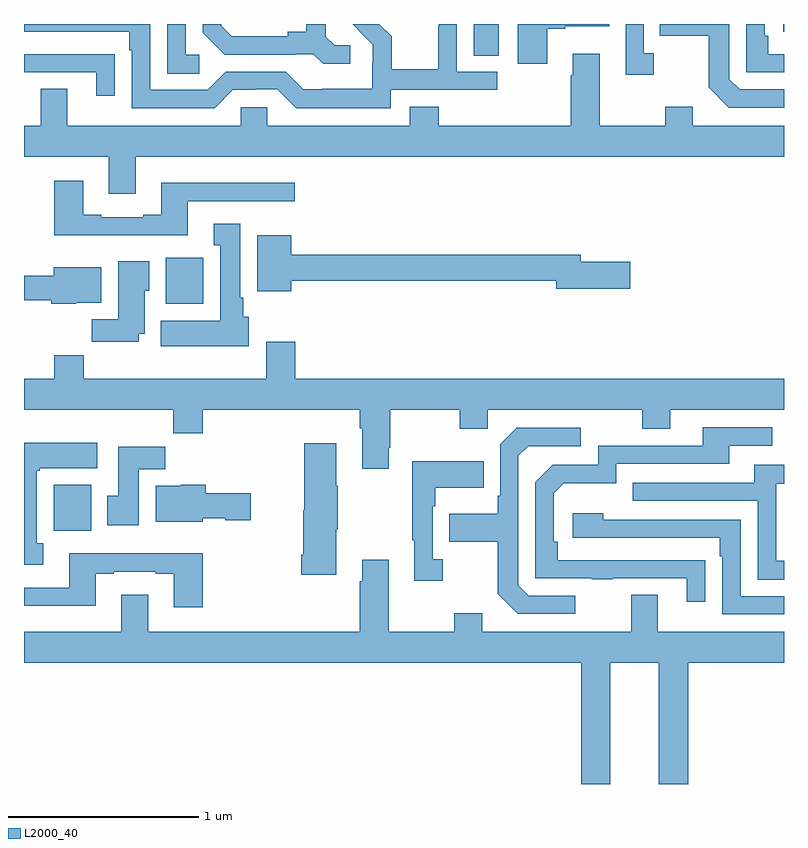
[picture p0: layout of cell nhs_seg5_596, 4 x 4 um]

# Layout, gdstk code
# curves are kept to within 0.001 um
import gdstk
lib = gdstk.Library(unit=1e-6, precision=1e-09)
def R(c, l, rs):  # rectangles x0, y0, x1, y1
    for r in rs: c.add(gdstk.rectangle(r[:2], r[2:], *l))
def P(c, l, *ps):  # polygons
    for p in ps: c.add(gdstk.Polygon(p, *l))
L2000_40 = (2000, 40)

nhs_seg5_596 = lib.new_cell('nhs_seg5_596')
R(nhs_seg5_596, L2000_40, [(149.156,848.132,149.353,848.374), (149.747,849.326,149.944,849.568), (151.367,850.633,151.498,850.799), (152.997,850.758,153,850.799)])
P(nhs_seg5_596, L2000_40, [(150.93,850.452),(151.492,850.452),(151.492,850.548),(151.278,850.548),(151.278,850.799),(151.182,850.799),(151.182,850.784),(151.18,850.784),(151.18,850.561),(150.935,850.561),(150.935,850.735),(150.871,850.799),(150.729,850.799),(150.836,850.69),(150.836,850.593),(150.834,850.593),(150.834,850.459),(150.571,850.459),(150.571,850.455),(150.471,850.455),(150.378,850.548),(150.063,850.548),(149.967,850.452),(149.664,850.452),(149.664,850.799),(149,850.799),(149,850.758),(149.555,850.758),(149.555,850.661),(149.568,850.661),(149.568,850.356),(150.003,850.356),(150.099,850.452),(150.218,850.452),(150.218,850.455),(150.333,850.455),(150.433,850.355),(150.93,850.355)],
  [(149.923,850.638),(149.85,850.638),(149.85,850.799),(149.754,850.799),(149.754,850.537),(149.923,850.537)],
  [(150.718,850.686),(150.636,850.686),(150.589,850.733),(150.589,850.799),(150.485,850.799),(150.485,850.757),(150.389,850.757),(150.389,850.734),(150.094,850.734),(150.037,850.791),(150.037,850.799),(149.94,850.799),(149.94,850.754),(150.056,850.638),(150.428,850.638),(150.428,850.641),(150.522,850.641),(150.574,850.589),(150.718,850.589)],
  [(153,850.641),(152.918,850.641),(152.918,850.738),(152.898,850.738),(152.898,850.799),(152.802,850.799),(152.802,850.545),(153,850.545)],
  [(152.314,850.646),(152.262,850.646),(152.262,850.799),(152.166,850.799),(152.166,850.533),(152.314,850.533)],
  [(153,850.455),(152.766,850.455),(152.712,850.509),(152.712,850.799),(152.347,850.799),(152.347,850.738),(152.604,850.738),(152.604,850.465),(152.709,850.359),(153,850.359)],
  [(151.753,850.775),(151.849,850.775),(151.849,850.787),(152.08,850.787),(152.08,850.799),(151.598,850.799),(151.598,850.59),(151.753,850.59)],
  [(149.587,850.1),(153,850.1),(153,850.264),(152.521,850.264),(152.521,850.363),(152.374,850.363),(152.374,850.264),(152.029,850.264),(152.029,850.642),(151.889,850.642),(151.889,850.529),(151.877,850.529),(151.877,850.264),(151.184,850.264),(151.184,850.363),(151.031,850.363),(151.031,850.264),(150.279,850.264),(150.279,850.362),(150.141,850.362),(150.141,850.264),(149.227,850.264),(149.227,850.459),(149.087,850.459),(149.087,850.264),(149,850.264),(149,850.1),(149.447,850.1),(149.447,849.906),(149.587,849.906)],
  [(149.477,850.64),(149.375,850.64),(149.375,850.641),(149,850.641),(149,850.545),(149.381,850.545),(149.381,850.422),(149.477,850.422)],
  [(149.863,849.867),(150.424,849.867),(150.424,849.964),(149.723,849.964),(149.723,849.796),(149.627,849.796),(149.627,849.783),(149.407,849.783),(149.407,849.796),(149.311,849.796),(149.311,849.973),(149.159,849.973),(149.159,849.686),(149.863,849.686)],
  [(150.184,849.258),(150.154,849.258),(150.154,849.358),(150.139,849.358),(150.139,849.748),(149.999,849.748),(149.999,849.635),(150.032,849.635),(150.032,849.238),(149.72,849.238),(149.72,849.104),(150.184,849.104)],
  [(150.406,849.448),(151.802,849.448),(151.802,849.406),(152.191,849.406),(152.191,849.548),(151.93,849.548),(151.93,849.584),(150.406,849.584),(150.406,849.688),(150.227,849.688),(150.227,849.392),(150.406,849.392)],
  [(149.605,849.17),(149.635,849.17),(149.635,849.396),(149.659,849.396),(149.659,849.55),(149.495,849.55),(149.495,849.244),(149.356,849.244),(149.356,849.126),(149.605,849.126)],
  [(149.274,849.332),(149.407,849.332),(149.407,849.52),(149.156,849.52),(149.156,849.473),(149,849.473),(149,849.345),(149.144,849.345),(149.144,849.326),(149.274,849.326)],
  [(150.919,848.569),(150.927,848.569),(150.927,848.768),(151.294,848.768),(151.294,848.669),(151.44,848.669),(151.44,848.768),(152.254,848.768),(152.254,848.669),(152.401,848.669),(152.401,848.768),(153,848.768),(153,848.932),(150.428,848.932),(150.428,849.127),(150.275,849.127),(150.275,848.932),(149.315,848.932),(149.315,849.056),(149.159,849.056),(149.159,848.932),(149,848.932),(149,848.768),(149.785,848.768),(149.785,848.644),(149.942,848.644),(149.942,848.768),(150.767,848.768),(150.767,848.672),(150.779,848.672),(150.779,848.457),(150.919,848.457)],
  [(152.585,847.976),(151.808,847.977),(151.808,848.074),(151.788,848.074),(151.788,848.328),(151.841,848.381),(152.118,848.381),(152.118,848.484),(152.713,848.484),(152.713,848.58),(152.938,848.58),(152.938,848.676),(152.573,848.676),(152.573,848.58),(152.022,848.58),(152.022,848.478),(151.782,848.478),(151.692,848.388),(151.692,847.881),(151.987,847.881),(151.987,847.876),(152.099,847.876),(152.099,847.881),(152.489,847.881),(152.489,847.758),(152.585,847.758)],
  [(151.9,847.791),(151.656,847.791),(151.602,847.845),(151.602,848.526),(151.653,848.577),(151.93,848.577),(151.93,848.673),(151.593,848.673),(151.506,848.586),(151.506,848.317),(151.494,848.317),(151.494,848.221),(151.237,848.221),(151.237,848.074),(151.494,848.074),(151.494,847.801),(151.599,847.695),(151.9,847.695)],
  [(149.101,848.066),(149.068,848.066),(149.068,848.449),(149.082,848.449),(149.082,848.462),(149.386,848.462),(149.386,848.596),(149,848.596),(149,847.953),(149.101,847.953)],
  [(150.643,848.141),(150.651,848.141),(150.651,848.369),(150.643,848.369),(150.643,848.593),(150.476,848.593),(150.476,848.241),(150.47,848.241),(150.47,848.005),(150.458,848.005),(150.458,847.901),(150.643,847.901)],
  [(149.605,848.456),(149.744,848.456),(149.744,848.575),(149.495,848.575),(149.495,848.316),(149.438,848.316),(149.438,848.16),(149.605,848.16)],
  [(151.204,847.982),(151.152,847.982),(151.152,848.261),(151.165,848.261),(151.165,848.357),(151.421,848.357),(151.421,848.497),(151.044,848.497),(151.044,848.081),(151.055,848.081),(151.055,847.869),(151.204,847.869)],
  [(153,847.974),(152.958,847.974),(152.958,848.379),(153,848.379),(153,848.479),(152.843,848.479),(152.843,848.385),(152.203,848.385),(152.203,848.289),(152.862,848.289),(152.862,847.873),(153,847.873)],
  [(149.94,848.198),(150.06,848.198),(150.06,848.186),(150.193,848.186),(150.193,848.328),(149.957,848.328),(149.957,848.374),(149.826,848.374),(149.826,848.368),(149.693,848.368),(149.693,848.18),(149.94,848.18)],
  [(153,847.788),(152.772,847.788),(152.772,848.19),(152.048,848.19),(152.048,848.224),(151.887,848.224),(151.887,848.094),(152.663,848.094),(152.663,847.997),(152.676,847.997),(152.676,847.692),(153,847.692)],
  [(149.942,848.014),(149.237,848.014),(149.237,847.833),(149,847.833),(149,847.736),(149.377,847.736),(149.377,847.905),(149.473,847.905),(149.473,847.917),(149.693,847.917),(149.693,847.905),(149.789,847.905),(149.789,847.728),(149.942,847.728)],
  [(152.086,847.436),(152.342,847.436),(152.342,846.799),(152.495,846.799),(152.495,847.436),(153,847.436),(153,847.6),(152.335,847.6),(152.335,847.795),(152.195,847.795),(152.195,847.6),(151.411,847.6),(151.411,847.699),(151.264,847.699),(151.264,847.6),(150.919,847.6),(150.919,847.978),(150.779,847.978),(150.779,847.865),(150.767,847.865),(150.767,847.6),(149.653,847.6),(149.653,847.795),(149.513,847.795),(149.513,847.6),(149,847.6),(149,847.436),(151.934,847.436),(151.934,846.799),(152.086,846.799)])

lib.write_gds('nhs_seg5_596.gds')
